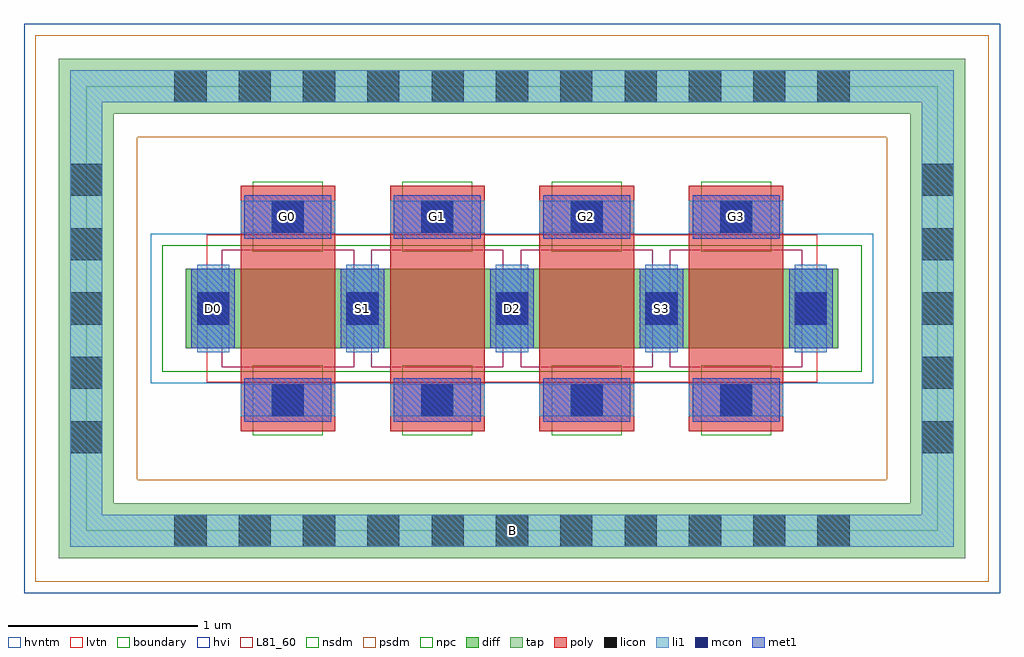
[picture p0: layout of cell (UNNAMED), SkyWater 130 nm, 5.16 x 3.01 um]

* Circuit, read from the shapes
.subckt (UNNAMED) B D0 D2 G0 G1 G2 G3 S1 S3
XM1 S1 G0 D0 B sky130_fd_pr__nfet_05v0_nvt w=0.42 l=0.5
XM2 D2 G1 S1 B sky130_fd_pr__nfet_05v0_nvt w=0.42 l=0.5
XM3 S3 G2 D2 B sky130_fd_pr__nfet_05v0_nvt w=0.42 l=0.5
XM4 n1 G3 S3 B sky130_fd_pr__nfet_05v0_nvt w=0.42 l=0.5
.ends

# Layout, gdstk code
import gdstk
lib = gdstk.Library(unit=1e-6, precision=1e-09)
def R(c, l, rs):  # rectangles x0, y0, x1, y1
    for r in rs: c.add(gdstk.rectangle(r[:2], r[2:], *l))
def A(c, l, x, y, w, h, nx, ny, dx, dy):  # array of equal rectangles
    R(c, l, [(x+i*dx, y+j*dy, x+i*dx+w, y+j*dy+h) for i in range(nx) for j in range(ny)])
diff = (65, 20)
tap = (65, 44)
poly = (66, 20)
licon = (66, 44)
li1 = (67, 20)
mcon = (67, 44)
met1 = (68, 20)
hvi = (75, 20)
L81_60 = (81, 60)
nsdm = (93, 44)
psdm = (94, 20)
npc = (95, 20)
hvntm = (125, 20)
lvtn = (125, 44)
boundary = (235, 4)

c__unnamed_ = lib.new_cell('(UNNAMED)')
R(c__unnamed_, diff, [(-1.725,-0.21,1.725,0.21)])
R(c__unnamed_, tap, [(-2.395,-1.32,2.395,-1.03), (-2.395,-1.03,-2.105,1.03), (2.105,-1.03,2.395,1.03), (-2.395,1.03,2.395,1.32)])
A(c__unnamed_, poly, -1.435, -0.65, 0.5, 1.3, 4, 1, 0.79, 0)
A(c__unnamed_, licon, -1.785, -1.26, 0.17, 0.17, 11, 2, 0.34, 2.35)
A(c__unnamed_, licon, -2.335, -0.765, 0.17, 0.17, 1, 5, 0, 0.34)
A(c__unnamed_, licon, 2.165, -0.765, 0.17, 0.17, 1, 5, 0, 0.34)
A(c__unnamed_, licon, -1.27, -0.57, 0.17, 0.17, 4, 2, 0.79, 0.97)
A(c__unnamed_, licon, -1.665, -0.085, 0.17, 0.17, 5, 1, 0.79, 0)
A(c__unnamed_, li1, -1.435, -0.57, 0.5, 0.17, 4, 2, 0.79, 0.97)
A(c__unnamed_, li1, -1.665, -0.23, 0.17, 0.46, 5, 1, 0.79, 0)
R(c__unnamed_, li1, [(-2.335,-1.26,2.335,-1.09), (-2.335,-1.09,-2.165,1.09), (2.165,-1.09,2.335,1.09), (-2.335,1.09,2.335,1.26)])
A(c__unnamed_, mcon, -1.27, -0.57, 0.17, 0.17, 4, 2, 0.79, 0.97)
A(c__unnamed_, mcon, -1.665, -0.085, 0.17, 0.17, 5, 1, 0.79, 0)
A(c__unnamed_, met1, -1.415, -0.6, 0.46, 0.23, 4, 2, 0.79, 0.97)
A(c__unnamed_, met1, -1.695, -0.21, 0.23, 0.42, 5, 1, 0.79, 0)
R(c__unnamed_, hvi, [(-2.58,-1.505,2.58,1.505)])
A(c__unnamed_, L81_60, -1.535, -0.31, 0.7, 0.62, 4, 1, 0.79, 0)
R(c__unnamed_, nsdm, [(-1.85,-0.335,1.85,0.335)])
R(c__unnamed_, psdm, [(-2.52,-1.445,2.52,-0.905), (-2.52,-0.905,-1.98,0.905), (1.98,-0.905,2.52,0.905), (-2.52,0.905,2.52,1.445)])
A(c__unnamed_, npc, -1.37, -0.67, 0.37, 0.37, 4, 2, 0.79, 0.97)
R(c__unnamed_, hvntm, [(-1.91,-0.395,1.91,0.395)])
R(c__unnamed_, lvtn, [(-1.615,-0.39,1.615,0.39)])
R(c__unnamed_, boundary, [(-2.25,-1.175,2.25,1.175)])
c__unnamed_.add(gdstk.Label('B', (0,-1.175), layer=67, texttype=5))
c__unnamed_.add(gdstk.Label('D0', (-1.58,0), layer=67, texttype=5))
c__unnamed_.add(gdstk.Label('G0', (-1.185,0.485), layer=67, texttype=5))
c__unnamed_.add(gdstk.Label('S1', (-0.79,0), layer=67, texttype=5))
c__unnamed_.add(gdstk.Label('G1', (-0.395,0.485), layer=67, texttype=5))
c__unnamed_.add(gdstk.Label('D2', (0,0), layer=67, texttype=5))
c__unnamed_.add(gdstk.Label('G2', (0.395,0.485), layer=67, texttype=5))
c__unnamed_.add(gdstk.Label('S3', (0.79,0), layer=67, texttype=5))
c__unnamed_.add(gdstk.Label('G3', (1.185,0.485), layer=67, texttype=5))

lib.write_gds('_UNNAMED_.gds')
